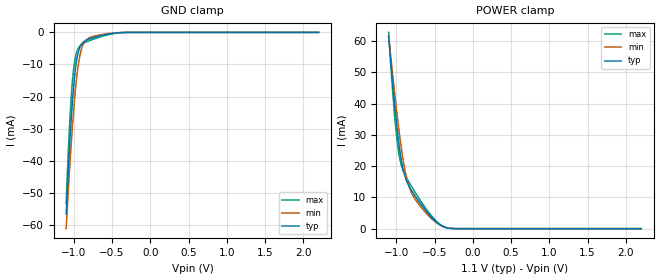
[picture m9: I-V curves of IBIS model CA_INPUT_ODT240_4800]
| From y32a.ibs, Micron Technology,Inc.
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| MODEL CA_INPUT_ODT240_4800 (Add/Cmd/Ctrl Input Model w/ 240ohm ODT, 4800Mbps)
[Model]   CA_INPUT_ODT240_4800
Model_type   Input
Vinl = 780.000mV
Vinh = 980.000mV
|   typ   min   max
|C_comp   0.418pF   0.368pF   0.469pF
C_comp_power_clamp   0.209pF   0.184pF   0.234pF
C_comp_gnd_clamp   0.209pF   0.184pF   0.234pF
[Voltage Range]   1.1000V   1.0450V   1.1550V
| Junction Temperature (Ambient temp is 35C typ, 95C min, 0C max)
[Temperature Range]   50.0   110.0   0.0
[Add Submodel]
| Submodel Name   Mode
240ohm_CAODT_4800   Non-Driving
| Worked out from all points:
|   GND clamp passes 1 mA (typ) near -0.64 V on its own axis
|   POWER clamp passes 1 mA (typ) near -0.41 V on its own axis
[GND Clamp]
|   Voltage   I(typ)   I(min)   I(max)
-1.1V     -56.65mA   -61.23mA   -53.33mA
-1.073V   -43.31mA   -49.62mA   -37.69mA
-1.05V    -33.33mA   -40.58mA   -26.69mA
-1.027V   -24.55mA   -32.28mA   -17.93mA
-1.004V   -17.37mA   -24.79mA   -11.7mA
-980.8mV  -11.82mA   -18.41mA   -7.939mA
-962.5mV  -8.622mA   -14.08mA   -6.152mA
-921.3mV  -4.65mA    -7.288mA   -4.301mA
-875.4mV  -3.003mA   -3.606mA   -3.462mA
-825mV    -2.286mA   -2.07mA    -2.882mA
-352.9mV  -38uA      -29.9uA    -54.21uA
2.2V      0A         0A         0A
[POWER Clamp]
|   Voltage   I(typ)   I(min)   I(max)
-1.1V     61.46mA    61.72mA    62.8mA
-1.05V    47.09mA    49.68mA    44.74mA
-1.004V   35.35mA    39.41mA    31.37mA
-967.1mV  27.41mA    31.87mA    24.1mA
-930.4mV  21.31mA    25.21mA    19.99mA
-875.4mV  15.87mA    17.31mA    16.68mA
-825mV    13.21mA    12.86mA    14.48mA
-792.9mV  11.9mA     11.04mA    13.18mA
-614.2mV  5.769mA    5.083mA    6.489mA
-435.4mV  1.341mA    1.259mA    1.514mA
-238.3mV  23.66uA    30.34uA    21.34uA
2.2V      0A         0A         0A
